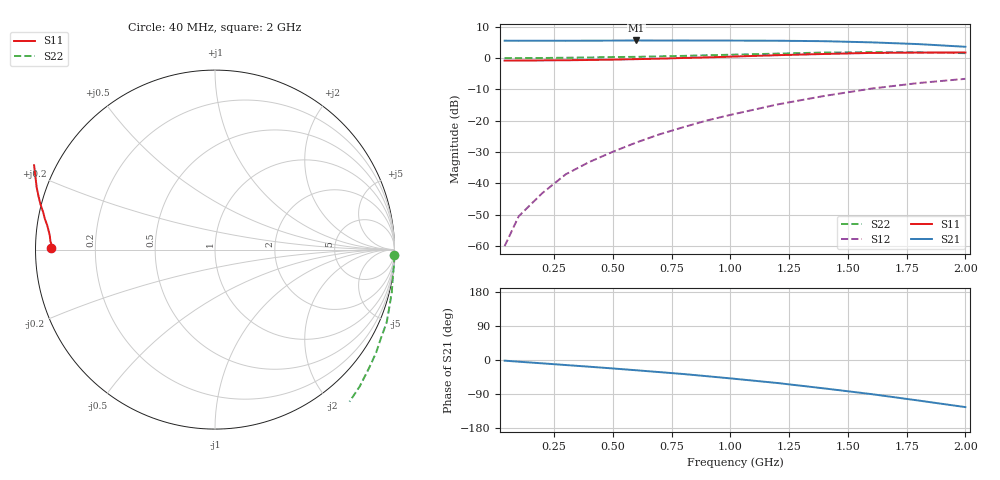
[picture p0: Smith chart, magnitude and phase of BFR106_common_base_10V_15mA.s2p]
! Filename:  BFR106CE.S2P  Version:  2.0
! Philips part #: BFR106  Date: Jul 1990
! Bias condition: Vce=10V, Ic=15mA
! COMMON BASE
#  MHz  S  MA  R  50
! Freq  S11  S21  S12  S22
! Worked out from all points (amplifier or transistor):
!   16 points, 40 MHz to 2 GHz, reference 50 ohm
!   highest |S21| = 5.6 dB at 600 MHz (marker M1)
!   |S21| within 3 dB of that: start of sweep to end of sweep
!   unconditionally stable (mu >= 1): nowhere
!   at 200 MHz: K = -0.55, MSG = 24.3 dB, |S12| = -43.1 dB
!   at 800 MHz: K = -0.90, MSG = 13.8 dB, |S12| = -22.0 dB
!   at 2 GHz: K = -0.69, MSG = 5.1 dB, |S12| = -6.6 dB
40  0.911 179.4  1.895 -1.7  0.001 77.4  0.999 -1.8
100  0.913 178.1  1.891 -4.5  0.003 100.5  1.001 -4.5
200  0.919 176.8  1.892 -8.8  0.007 121.0  1.003 -9.0
300  0.924 175.1  1.891 -13.3  0.014 129.7  1.013 -13.5
400  0.933 173.5  1.896 -17.7  0.022 134.1  1.023 -18.3
500  0.945 171.7  1.901 -22.3  0.032 136.7  1.039 -23.0
600  0.962 169.9  1.911 -27.1  0.045 137.7  1.047 -27.7
700  0.98 167.7  1.904 -32.0  0.061 138.7  1.066 -32.7
800  1.004 165.5  1.907 -37.0  0.079 139.1  1.084 -37.9
900  1.026 163.3  1.903 -42.7  0.101 137.6  1.109 -43.3
1000  1.053 160.7  1.902 -48.5  0.124 135.4  1.131 -48.5
1200  1.112 155.0  1.892 -60.7  0.182 130.3  1.178 -60.5
1400  1.163 148.0  1.86 -75.0  0.249 123.1  1.227 -73.1
1600  1.209 140.1  1.782 -90.0  0.326 115.3  1.241 -86.7
1800  1.224 131.3  1.671 -106.9  0.4 105.7  1.236 -101.2
2000  1.226 123.2  1.516 -124.3  0.467 96.7  1.199 -115.7
